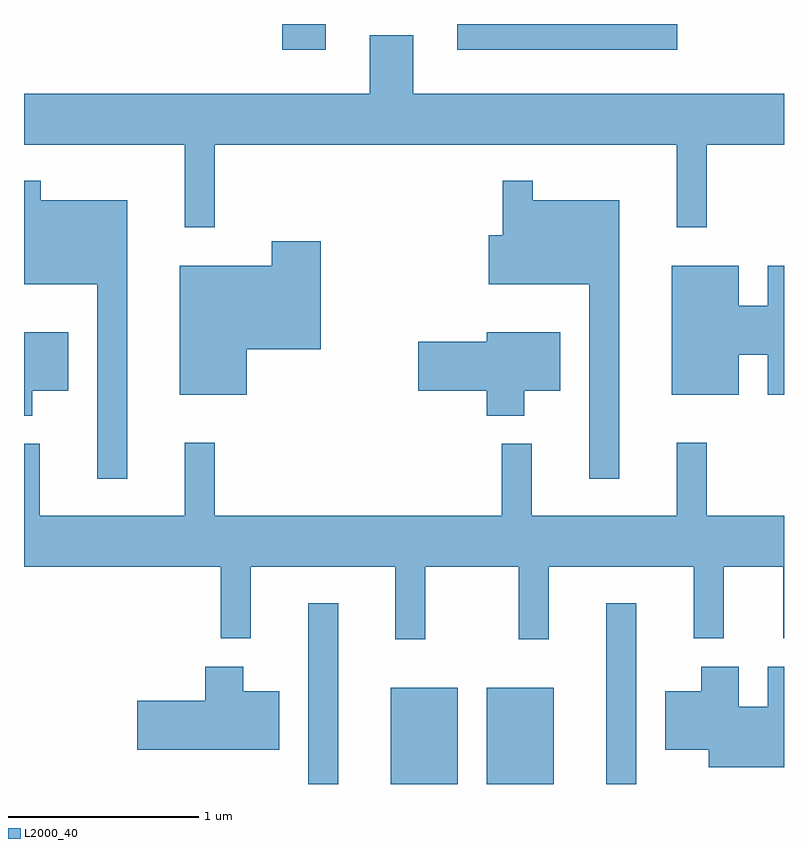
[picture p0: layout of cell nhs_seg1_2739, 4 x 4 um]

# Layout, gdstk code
import gdstk
lib = gdstk.Library(unit=1e-6, precision=1e-09)
def R(c, l, rs):  # rectangles x0, y0, x1, y1
    for r in rs: c.add(gdstk.rectangle(r[:2], r[2:], *l))
def P(c, l, *ps):  # polygons
    for p in ps: c.add(gdstk.Polygon(p, *l))
L2000_40 = (2000, 40)

nhs_seg1_2739 = lib.new_cell('nhs_seg1_2739')
R(nhs_seg1_2739, L2000_40, [(269.106,951.712,269.264,952.663), (269.541,951.712,269.894,952.219), (270.046,951.712,270.399,952.219), (270.676,951.712,270.834,952.663), (268.971,955.576,269.199,955.712), (269.891,955.576,271.048,955.712)])
P(nhs_seg1_2739, L2000_40, [(268.614,955.076),(271.046,955.076),(271.046,954.643),(271.204,954.643),(271.204,955.076),(271.611,955.076),(271.611,955.344),(269.659,955.344),(269.659,955.654),(269.431,955.654),(269.431,955.344),(267.611,955.344),(267.611,955.076),(268.456,955.076),(268.456,954.643),(268.614,954.643)],
  [(270.744,954.784),(270.289,954.784),(270.289,954.888),(270.131,954.888),(270.131,954.599),(270.056,954.599),(270.056,954.341),(270.586,954.341),(270.586,953.318),(270.744,953.318)],
  [(268.154,954.784),(267.699,954.784),(267.699,954.888),(267.611,954.888),(267.611,954.341),(267.996,954.341),(267.996,953.318),(268.154,953.318)],
  [(268.784,954.001),(269.174,954.001),(269.174,954.569),(268.916,954.569),(268.916,954.439),(268.431,954.439),(268.431,953.761),(268.784,953.761)],
  [(271.374,953.971),(271.526,953.971),(271.526,953.761),(271.611,953.761),(271.611,954.439),(271.526,954.439),(271.526,954.229),(271.374,954.229),(271.374,954.439),(271.021,954.439),(271.021,953.761),(271.374,953.761)],
  [(267.654,953.781),(267.844,953.781),(267.844,954.089),(267.611,954.089),(267.611,953.651),(267.654,953.651)],
  [(270.244,953.781),(270.434,953.781),(270.434,954.089),(270.046,954.089),(270.046,954.039),(269.686,954.039),(269.686,953.781),(270.046,953.781),(270.046,953.651),(270.244,953.651)],
  [(269.724,952.856),(270.216,952.856),(270.216,952.473),(270.374,952.473),(270.374,952.856),(271.136,952.856),(271.136,952.478),(271.294,952.478),(271.294,952.856),(271.606,952.856),(271.606,952.478),(271.611,952.478),(271.611,953.124),(271.204,953.124),(271.204,953.508),(271.046,953.508),(271.046,953.124),(270.284,953.124),(270.284,953.503),(270.126,953.503),(270.126,953.124),(268.614,953.124),(268.614,953.508),(268.456,953.508),(268.456,953.124),(267.694,953.124),(267.694,953.503),(267.611,953.503),(267.611,952.856),(268.646,952.856),(268.646,952.478),(268.804,952.478),(268.804,952.856),(269.566,952.856),(269.566,952.473),(269.724,952.473)],
  [(268.954,952.199),(268.764,952.199),(268.764,952.329),(268.566,952.329),(268.566,952.149),(268.206,952.149),(268.206,951.891),(268.954,951.891)],
  [(271.611,952.329),(271.526,952.329),(271.526,952.119),(271.374,952.119),(271.374,952.329),(271.176,952.329),(271.176,952.199),(270.986,952.199),(270.986,951.891),(271.216,951.891),(271.216,951.801),(271.611,951.801)])

lib.write_gds('nhs_seg1_2739.gds')
